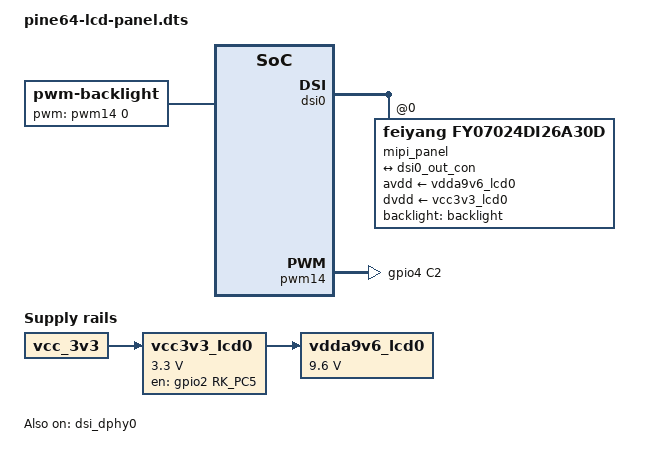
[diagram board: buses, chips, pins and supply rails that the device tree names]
/* SPDX-License-Identifier: MIT */
/* This example overlay describes the official PINE64 display connected to
 * the Quartz64 Model A over MIPI-DSI. The backlight is described as being
 * controlled through PWM, and has 5 brightness levels.
 *
 * Beware, there be dragons: RK356x CRU weirdness means we need to manually
 * kindly ask the kernel to set the PLL_VPLL rate to close to or a multiple
 * of the pixel clock rate (55000000 Hz).
 */

/dts-v1/;
/plugin/;			/* Identifies this as an overlay */

#include <dt-bindings/clock/rk3568-cru.h>
#include <dt-bindings/gpio/gpio.h>
#include <dt-bindings/pinctrl/rockchip.h>
#include <dt-bindings/soc/rockchip,vop2.h>

/* Modify the root node of the base tree to add new nodes to it */
&{/} {
	/* Add a PWM backlight description, hooked up to pwm14 */
	backlight: backlight {
		compatible = "pwm-backlight";
		brightness-levels = <0 4 8 16 32 64 128 255>;
		default-brightness-level = <5>;
		pwms = <&pwm14 0 1000000 0>;
	};

	/* vcc3v3_lcd0 is controlled by an enable GPIO */
	vcc3v3_lcd0: vcc3v3-lcd0 {
		compatible = "regulator-fixed";
		enable-active-high;
		gpio = <&gpio2 RK_PC5 GPIO_ACTIVE_HIGH>;
		pinctrl-names = "default";
		pinctrl-0 = <&lcd0_pwren_h>;
		regulator-name = "vcc3v3_lcd0";
		regulator-always-on;
		regulator-boot-on;
		regulator-min-microvolt = <3300000>;
		regulator-max-microvolt = <3300000>;
		vin-supply = <&vcc_3v3>;
	};

	/* AVDD9V6 is a boost converter output at 9.6 volts derived from vcc3v3_lcd0 */
	vdda9v6_lcd0: vdda9v6-lcd0 {
		compatible = "regulator-fixed";
		regulator-name = "vdda9v6_lcd0";
		regulator-min-microvolt = <9600000>;
		regulator-max-microvolt = <9600000>;
		vin-supply = <&vcc3v3_lcd0>;
	};
};

/* Workaround for RK3566 weirdness:
 * We need to set PLL_VPLL close to (above) or a multiple of our panel's pixel clock
 */
&cru {
	assigned-clocks = <&cru PLL_VPLL>;
	assigned-clock-rates = <1100000000>;
};

&dsi_dphy0 {
	status = "okay";
};

&dsi0 {
	#address-cells = <1>;
	#size-cells = <0>;
	status = "okay";

	mipi_panel: panel@0 {
		compatible = "feiyang,fy07024di26a30d";
		reg = <0>;
		avdd-supply = <&vdda9v6_lcd0>;
		backlight = <&backlight>;
		dvdd-supply = <&vcc3v3_lcd0>;

		ports {
			#address-cells = <1>;
			#size-cells = <0>;

			port@0 {
				reg = <0>;

				mipi_in_panel: endpoint {
					remote-endpoint = <&dsi0_out_con>;
				};
			};
		};
	};
};

&dsi0_in {
	#address-cells = <1>;
	#size-cells = <0>;

	dsi0_in_vp1: endpoint {
		remote-endpoint = <&vp1_out_dsi0>;
	};
};

&dsi0_out {
	#address-cells = <1>;
	#size-cells = <0>;

	dsi0_out_con: endpoint {
		remote-endpoint = <&mipi_in_panel>;
	};
};

&pinctrl {
	lcd0 {
		lcd0_pwren_h: lcd0-pwren-h {
			rockchip,pins = <2 RK_PC5 RK_FUNC_GPIO &pcfg_pull_none>;
		};
	};

	/* Copied from rk3568-pinctrl.dtsi */
	pwm14 {
		pwm14m1_pins: pwm14m1-pins {
			rockchip,pins =
				/* pwm14_m1 */
				<4 RK_PC2 1 &pcfg_pull_none>;
		};
	};
};

&pwm14 {
	/* Our PWM uses the M1 mux set of pins */
	pinctrl-0 = <&pwm14m1_pins>;
	pinctrl-names = "default";
	status = "okay";
};

/* Assign the VOP's clock parent to PLL_VPLL, required according to macromorgan */
&vop {
	assigned-clocks = <&cru DCLK_VOP0>, <&cru DCLK_VOP1>;
	assigned-clock-parents = <&pmucru PLL_HPLL>, <&cru PLL_VPLL>;
};


&vp1 {
	#address-cells = <1>;
	#size-cells = <0>;

	vp1_out_dsi0: endpoint@ROCKCHIP_VOP2_EP_MIPI0 {
		reg = <ROCKCHIP_VOP2_EP_MIPI0>;
		remote-endpoint = <&dsi0_in_vp1>;
	};
};
